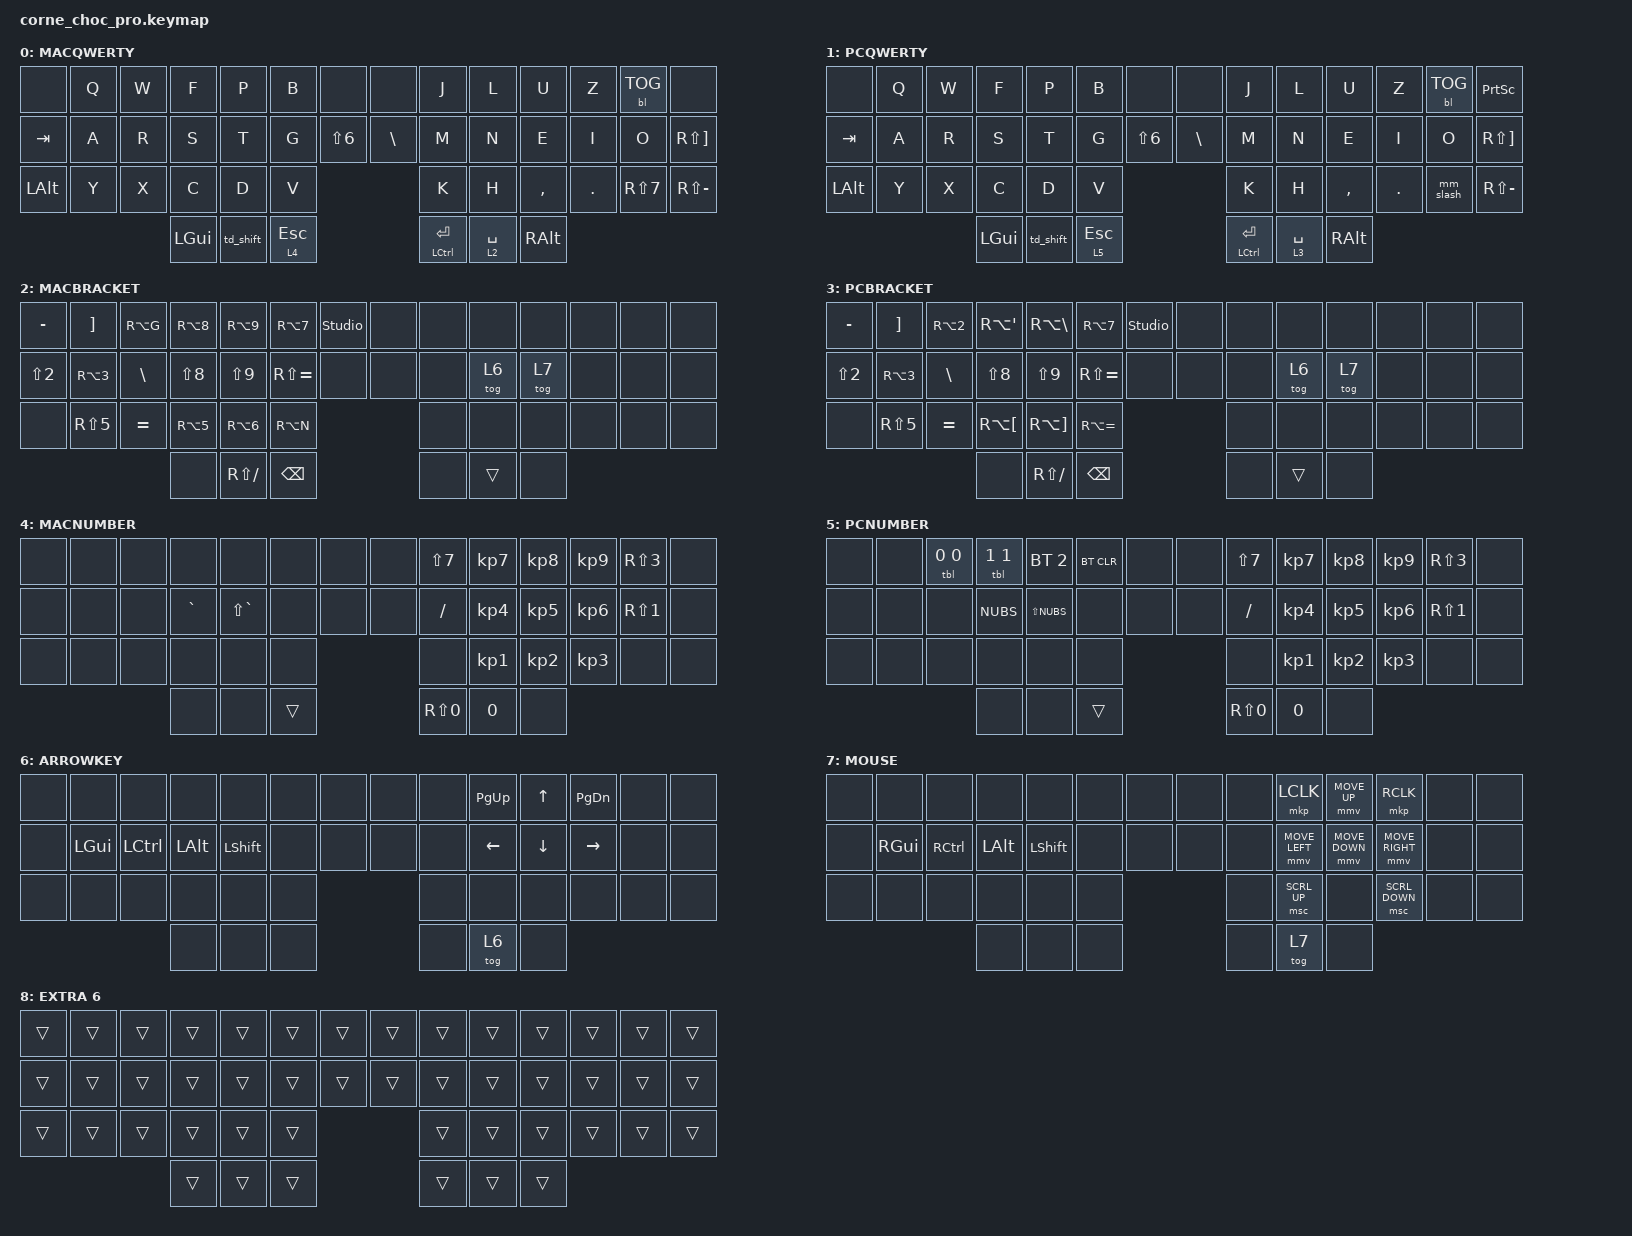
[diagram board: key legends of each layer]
/*
 * Copyright (c) 2020 The ZMK Contributors
 *
 * SPDX-License-Identifier: MIT
 */

// add higher default mouse speed
#define ZMK_POINTING_DEFAULT_MOVE_VAL 900  // default: 600
#define ZMK_POINTING_DEFAULT_SCRL_VAL 15    // default: 10

#include <behaviors.dtsi>
#include <dt-bindings/zmk/backlight.h>
#include <dt-bindings/zmk/bt.h>
#include <dt-bindings/zmk/keys.h>
#include <dt-bindings/zmk/pointing.h>

/ {
    chosen { zmk,physical-layout = &default_layout; };
};

/ {
    behaviors {
        // use tapdance to toggle CAPS LOCK
        td_shift: td_shift {
            compatible = "zmk,behavior-tap-dance";
            #binding-cells = <0>;
            bindings = <&kp LEFT_SHIFT>, <&kp CAPS>;
        };
        // use Mod-Morph to get same behavior of Forward Slash / Back Slash on Windows as on Mac
        mm_slash: mm_slash {
            compatible = "zmk,behavior-mod-morph";
            #binding-cells = <0>;
            bindings = <&kp LS(N7)>, <&kp RALT(NUBS)>;
            mods = <(MOD_LSFT|MOD_RSFT)>;
        };
    };

    macros {
        // switch BT profile and at the same time switch keyboard layer (used to accomodate swiss mac and pc layouts)
        // accepts two parameters
        tbl: tbl {
            compatible = "zmk,behavior-macro-two-param";
            wait-ms = <0>;  // no delay when doing both actions
            tap-ms = <0>;  // keys are not pressed for long
            #binding-cells = <2>;
            bindings
                = <&macro_param_1to1>
                , <&bt BT_SEL MACRO_PLACEHOLDER>
                , <&macro_param_2to1>
                , <&to MACRO_PLACEHOLDER>
                ;
        };
    };

    keymap {
        compatible = "zmk,keymap";

        default_layer {
            display-name = "MACQWERTY";

            // --------------------------------------------------------------------------------------------------------------------------
            // |      |  Q  |  W  |  F  |  P        |  B         |      |      |  J       |  L           |  U  |  Y  |  TG glow  |      |
            // | TAB  |  A  |  R  |  S  |  T        |  G         |   &  |   $  |  M       |  N           |  E  |  I  |  O        |  !   |
            // | LALT |  Z  |  X  |  C  |  D        |  V         |             |  K       |  H           |  ,  |  .  |  /        |  ?   |
            //                    | GUI | SHFT/CAPS | ESC/Layer4 |             | ENT/CTRL | SPACE/Layer2 | ALT |

            bindings = <
&none     &kp Q  &kp W  &kp F     &kp P      &kp B      &none       &none     &kp J            &kp L        &kp U      &kp Z    &bl BL_TOG  &none
&kp TAB   &kp A  &kp R  &kp S     &kp T      &kp G      &kp LS(N6)  &kp BSLH  &kp M            &kp N        &kp E      &kp I    &kp O       &kp RS(RBKT)
&kp LALT  &kp Y  &kp X  &kp C     &kp D      &kp V                            &kp K            &kp H        &kp COMMA  &kp DOT  &kp RS(N7)  &kp RS(MINUS)
                        &kp LGUI  &td_shift  &lt 4 ESC                        &mt LCTRL ENTER  &lt 2 SPACE  &kp RALT
            >;
        };

        lower_layer {
            display-name = "PCQWERTY";

            // ----------------------------------------------------------------------------------------------------------------------------------
            // |      |  Q  |  W  |  F  |  P        |  B         |      |      |  J       |  L           |  U  |  Y  |  TG glow  | Print Screen |
            // | TAB  |  A  |  R  |  S  |  T        |  G         |   &  |   $  |  M       |  N           |  E  |  I  |  O        |  !           |
            // | LALT |  Z  |  X  |  C  |  D        |  V         |             |  K       |  H           |  ,  |  .  |  /        |  ?           |
            //                    | GUI | SHFT/CAPS | ESC/Layer5 |             | ENT/CTRL | SPACE/Layer3 | ALT |

            bindings = <
&none     &kp Q  &kp W  &kp F     &kp P      &kp B         &none       &none     &kp J            &kp L        &kp U      &kp Z    &bl BL_TOG  &kp PSCRN
&kp TAB   &kp A  &kp R  &kp S     &kp T      &kp G         &kp LS(N6)  &kp BSLH  &kp M            &kp N        &kp E      &kp I    &kp O       &kp RS(RBKT)
&kp LALT  &kp Y  &kp X  &kp C     &kp D      &kp V                               &kp K            &kp H        &kp COMMA  &kp DOT  &mm_slash   &kp RS(MINUS)
                        &kp LGUI  &td_shift  &lt 5 ESC                           &mt LCTRL ENTER  &lt 3 SPACE  &kp RALT
            >;
        };

        raise_layer {
            display-name = "MACBRACKET";

            // ----------------------------------------------------------------------------------------------------------
            // |  '   |  ¨   |  @   |   {   |  }   |  |   | Unlock |      |      |        |        |      |      |      |
            // |  "   |  #   |  $   |   (   |  )   |  `   |        |      |      | Layer6 | Layer7 |      |      |      |
            // |      |  %   |  ^   |   [   |  ]   |  ~   |               |      |        |        |      |      |      |
            //                      |       |  _   | BKSP |               |      | Trans  |        |

            bindings = <
&kp MINUS   &kp RIGHT_BRACKET  &kp RA(G)   &kp RA(N8)  &kp RA(N9)     &kp RA(N7)     &studio_unlock  &none  &none  &none   &none  &none  &none  &none
&kp LS(N2)  &kp RA(N3)         &kp BSLH    &kp LS(N8)  &kp LS(N9)     &kp RS(EQUAL)  &none           &none  &none  &tog 6  &tog 7 &none  &none  &none
&none       &kp RS(N5)         &kp EQUAL   &kp RA(N5)  &kp RA(N6)     &kp RA(N)                             &none  &none   &none  &none  &none  &none
                                           &none       &kp RS(SLASH)  &kp BSPC                              &none  &trans  &none
            >;
        };

        extra_layer_1 {
            display-name = "PCBRACKET";

            // ----------------------------------------------------------------------------------------------------------
            // |  '   |  ¨   |  @   |   {   |  }   |  |   | Unlock |      |      |        |        |      |      |      |
            // |  "   |  #   |  $   |   (   |  )   |  `   |        |      |      | Layer6 | Layer7 |      |      |      |
            // |      |  %   |  ^   |   [   |  ]   |  ~   |               |      |        |        |      |      |      |
            //                      |       |  _   | BKSP |               |      | Trans  |        |

            bindings = <
&kp MINUS   &kp RIGHT_BRACKET  &kp RA(N2)  &kp RA(APOS)  &kp RA(BSLH)   &kp RA(N7)     &studio_unlock  &none  &none  &none   &none  &none  &none  &none
&kp LS(N2)  &kp RA(N3)         &kp BSLH    &kp LS(N8)    &kp LS(N9)     &kp RS(EQUAL)  &none           &none  &none  &tog 6  &tog 7 &none  &none  &none
&none       &kp RS(N5)         &kp EQUAL   &kp RA(LBKT)  &kp RA(RBKT)   &kp RA(EQUAL)                         &none  &none   &none  &none  &none  &none
                                           &none         &kp RS(SLASH)  &kp BACKSPACE                         &none  &trans  &none
            >;
        };

        extra_layer_2 {
            display-name = "MACNUMBER";

            // ----------------------------------------------------------------------------------------------------
            // |      |      | BT 0 | BT 1 | BT 2 | BT CLR |      |      |  /   |  7   |  8   |  9  |  *   |      |
            // |      |      |      |  <   |  >   |        |      |      |  -   |  4   |  5   |  6  |  +   |      |
            // |      |      |      |      |      |        |             |      |  1   |  2   |  3  |      |      |
            //                      |      |      | Trans  |             |  =   |  0   |      |

            bindings = <
&none  &none  &none  &none      &none          &none   &none  &none  &kp LS(N7)  &kp KP_N7  &kp KP_N8  &kp KP_N9  &kp RS(N3)  &none
&none  &none  &none  &kp GRAVE  &kp LS(GRAVE)  &none   &none  &none  &kp SLASH   &kp KP_N4  &kp KP_N5  &kp KP_N6  &kp RS(N1)  &none
&none  &none  &none  &none      &none          &none                 &none       &kp KP_N1  &kp KP_N2  &kp KP_N3  &none       &none
                     &none      &none          &trans                &kp RS(N0)  &kp N0     &none
            >;
        };

        extra_layer_3 {
            display-name = "PCNUMBER";

            // ----------------------------------------------------------------------------------------------------
            // |      |      | BT 0 | BT 1 | BT 2 | BT CLR |      |      |  /   |  7   |  8   |  9  |  *   |      |
            // |      |      |      |  <   |  >   |        |      |      |  -   |  4   |  5   |  6  |  +   |      |
            // |      |      |      |      |      |        |             |      |  1   |  2   |  3  |      |      |
            //                      |      |      | Trans  |             |  =   |  0   |      |

            bindings = <
&none  &none  &tbl 0 0  &tbl 1 1   &bt BT_SEL 2   &bt BT_CLR   &none  &none  &kp LS(N7)  &kp KP_N7  &kp KP_N8  &kp KP_N9  &kp RS(N3)  &none
&none  &none  &none     &kp NUBS   &kp LS(NUBS)   &none        &none  &none  &kp SLASH   &kp KP_N4  &kp KP_N5  &kp KP_N6  &kp RS(N1)  &none
&none  &none  &none     &none      &none          &none                      &none       &kp KP_N1  &kp KP_N2  &kp KP_N3  &none       &none
                        &none      &none          &trans                     &kp RS(N0)  &kp N0     &none
            >;
        };

        extra_layer_4 {
            display-name = "ARROWKEY";

            // ---------------------------------------------------------------------------------------------------------------------
            // |       |       |       |       |       |       |       |       |       | PG-UP   |  UP   | PG-DOWN |       |       |
            // |       | CMD   | CTRL  | LALT  | SHIFT |       |       |       |       | LEFT    | DOWN  | RIGHT   |       |       |
            // |       |       |       |       |       |       |               |       |         |       |         |       |       |
            //                         |       |       |       |               |       | Layer 3 |       |

            bindings = <
&none  &none         &none             &none         &none           &none  &none  &none  &none  &kp PAGE_UP  &kp UP_ARROW  &kp PAGE_DOWN  &none  &none
&none  &kp LEFT_GUI  &kp LEFT_CONTROL  &kp LEFT_ALT  &kp LEFT_SHIFT  &none  &none  &none  &none  &kp LEFT     &kp DOWN      &kp RIGHT      &none  &none
&none  &none         &none             &none         &none           &none                &none  &none        &none         &none          &none  &none
                                       &none         &none           &none                &none  &tog 6       &none
            >;
        };

        extra_layer_5 {
            display-name = "MOUSE";

            // ------------------------------------------------------------------------------------------------------------------------------------
            // |       |       |       |       |       |       |       |       |       | LClick     | Mouse-UP    | RClick        |       |       |
            // |       | CMD   | CTRL  | LALT  | SHIFT |       |       |       |       | Mouse-LEFT | Mouse-DOWN  | Mouse-RIGHT   |       |       |
            // |       |       |       |       |       |       |               |       | Scroll-Up  |             | Scroll-Down   |       |       |
            //                         |       |       |       |               |       | Layer 4    |             |
            
            bindings = <
&none  &none          &none              &none         &none           &none  &none  &none  &none  &mkp LCLK       &mmv MOVE_UP    &mkp RCLK        &none  &none
&none  &kp RIGHT_GUI  &kp RIGHT_CONTROL  &kp LEFT_ALT  &kp LEFT_SHIFT  &none  &none  &none  &none  &mmv MOVE_LEFT  &mmv MOVE_DOWN  &mmv MOVE_RIGHT  &none  &none
&none  &none          &none              &none         &none           &none                &none  &msc SCRL_UP    &none           &msc SCRL_DOWN   &none  &none
                                         &none         &none           &none                &none  &tog 7          &none
            >;
        };

        extra_layer_6 {
            display-name = "EXTRA 6";
            bindings = <
&trans  &trans  &trans  &trans  &trans  &trans  &trans  &trans  &trans  &trans  &trans  &trans  &trans  &trans
&trans  &trans  &trans  &trans  &trans  &trans  &trans  &trans  &trans  &trans  &trans  &trans  &trans  &trans
&trans  &trans  &trans  &trans  &trans  &trans                  &trans  &trans  &trans  &trans  &trans  &trans
                        &trans  &trans  &trans                  &trans  &trans  &trans
            >;
        };
    };
};
